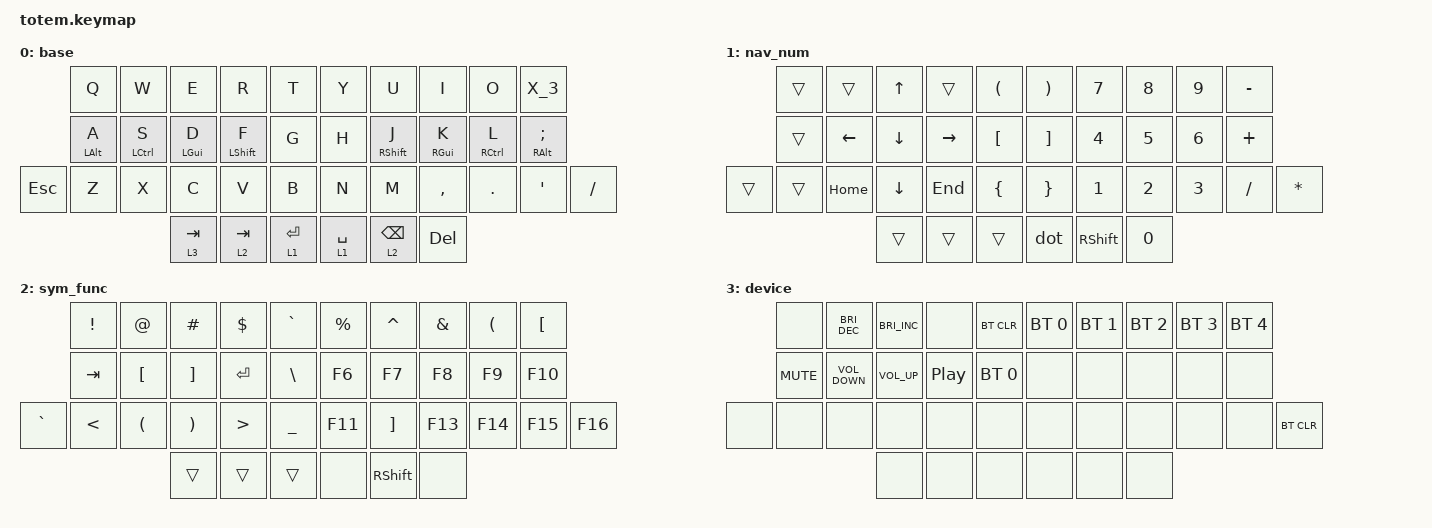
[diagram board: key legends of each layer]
//
//                                                        ▀▀▀▀▀     ▀▀▀▀▀          ▀▀█▀▀
//                                                        ▄▀▀▀▄  ▄  ▄▀▀▀▄  ▄  ▄▀▀▀▄  █  ▄▀▀▀▄
//                                                        █   █  █  █   █  █  █   █  █  █   █
//                                                         ▀▀▀   █   ▀▀▀   █   ▀▀▀   ▀   ▀▀▀
//                                                               █      ▄▄▄█▄▄▄    █   █  
//                                                               ▀      █  █  █     █▄█
//                                                             ▀▀▀▀▀    █  █  █      ▀
//                                                                      ▀  ▀  ▀
//
// ▄▄▄▄▄▄▄▄▄▄▄▄▄▄▄▄▄▄▄▄▄▄▄▄▄▄▄▄▄▄▄▄▄▄▄▄▄▄▄▄▄▄▄▄▄▄▄▄▄▄▄▄▄▄▄▄▄▄▄▄▄▄▄▄▄▄▄▄▄▄▄▄▄▄▄▄▄▄▄▄▄▄▄▄▄▄▄▄▄▄▄▄▄▄▄▄▄▄▄▄▄▄▄▄▄▄▄▄▄▄▄▄▄▄▄▄▄▄▄▄▄▄▄▄▄▄▄▄▄▄▄▄▄▄▄▄▄▄▄▄▄▄▄▄▄▄▄▄▄

#include <behaviors.dtsi>
#include <dt-bindings/zmk/bt.h>
#include <dt-bindings/zmk/keys.h>

/ {
    macros {
        dot: dot {
            compatible = "zmk,behavior-macro";
            #binding-cells = <0>;
            bindings = <&kp DOT>;
            label = "DOT";
        };
    };

    combos {
        compatible = "zmk,combos";

        o_p {
            bindings = <&kp LEFT_BRACKET>;
            key-positions = <8 9>;
        };
    };

    behaviors {
        hrm_l: hrm_l {
            compatible = "zmk,behavior-hold-tap";
            label = "HRM_L";
            bindings = <&kp>, <&kp>;

            #binding-cells = <2>;
            tapping-term-ms = <300>;
            flavor = "balanced";
            require-prior-idle-ms = <150>;
            quick-tap-ms = <175>;
        };

        hrm_r: hrm_r {
            compatible = "zmk,behavior-hold-tap";
            label = "HRM_R";
            bindings = <&kp>, <&kp>;

            #binding-cells = <2>;
            tapping-term-ms = <300>;
            flavor = "balanced";
            require-prior-idle-ms = <150>;
            quick-tap-ms = <175>;
        };

        X_3: X_3 {
            compatible = "zmk,behavior-tap-dance";
            label = "X_3";
            #binding-cells = <0>;
            bindings = <&kp P>, <&kp LEFT_BRACKET>;
        };
    };

    keymap {
        compatible = "zmk,keymap";

        base {
            bindings = <
         &kp Q              &kp W                  &kp E              &kp R                &kp T          &kp Y        &kp U                 &kp I               &kp O                   &X_3
         &hrm_l LEFT_ALT A  &hrm_l LEFT_CONTROL S  &hrm_l LEFT_GUI D  &hrm_l LEFT_SHIFT F  &kp G          &kp H        &hrm_r RIGHT_SHIFT J  &hrm_r RIGHT_GUI K  &hrm_r RIGHT_CONTROL L  &hrm_r RIGHT_ALT SEMI
&kp ESC  &kp Z              &kp X                  &kp C              &kp V                &kp B          &kp N        &kp M                 &kp COMMA           &kp DOT                 &kp APOS               &kp SLASH
                                                   &lt 3 TAB          &lt 2 TAB            &lt 1 ENTER    &lt 1 SPACE  &lt 2 BACKSPACE       &kp DELETE
            >;
        };

        nav_num {
            bindings = <
        &trans  &trans    &kp UP          &trans     &kp LEFT_PARENTHESIS    &kp RIGHT_PARENTHESIS  &kp N7           &kp N8        &kp N9        &kp MINUS
        &trans  &kp LEFT  &kp DOWN        &kp RIGHT  &kp LEFT_BRACKET        &kp RIGHT_BRACKET      &kp N4           &kp N5        &kp N6        &kp PLUS
&trans  &trans  &kp HOME  &kp DOWN_ARROW  &kp END    &kp LEFT_BRACE          &kp RIGHT_BRACE        &kp NUMBER_1     &kp NUMBER_2  &kp NUMBER_3  &kp FSLH   &kp ASTERISK
                          &trans          &trans     &trans                  &dot                   &kp RIGHT_SHIFT  &kp N0
            >;
        };

        sym_func {
            bindings = <
           &kp EXCLAMATION  &kp AT_SIGN           &kp HASH               &kp DOLLAR        &kp GRAVE         &kp PERCENT  &kp CARET          &kp AMPERSAND  &kp LEFT_PARENTHESIS  &kp LEFT_BRACKET
           &kp TAB          &kp LBKT              &kp RBKT               &kp ENTER         &kp BSLH          &kp F6       &kp F7             &kp F8         &kp F9                &kp F10
&kp GRAVE  &kp LESS_THAN    &kp LEFT_PARENTHESIS  &kp RIGHT_PARENTHESIS  &kp GREATER_THAN  &kp UNDERSCORE    &kp F11      &kp RIGHT_BRACKET  &kp F13        &kp F14               &kp F15           &kp F16
                                                  &trans                 &trans            &trans            &none        &kp RIGHT_SHIFT    &none
            >;
        };

        device {
            bindings = <
       &none       &kp C_BRIGHTNESS_DEC  &kp C_BRIGHTNESS_INC  &none             &bt BT_CLR      &bt BT_SEL 0  &bt BT_SEL 1  &bt BT_SEL 2  &bt BT_SEL 3  &bt BT_SEL 4
       &kp K_MUTE  &kp C_VOLUME_DOWN     &kp C_VOLUME_UP       &kp C_PLAY_PAUSE  &bt BT_SEL 0    &none         &none         &none         &none         &none
&none  &none       &none                 &none                 &none             &none           &none         &none         &none         &none         &none         &bt BT_CLR
                                         &none                 &none             &none           &none         &none         &none
            >;
        };

        extra1 { status = "reserved"; };

        extra2 { status = "reserved"; };

        extra3 { status = "reserved"; };
    };

    conditional_layers {
        compatible = "zmk,conditional-layers";

        device {
            if-layers = <1 2>;
            then-layer = <3>;
        };
    };
};
